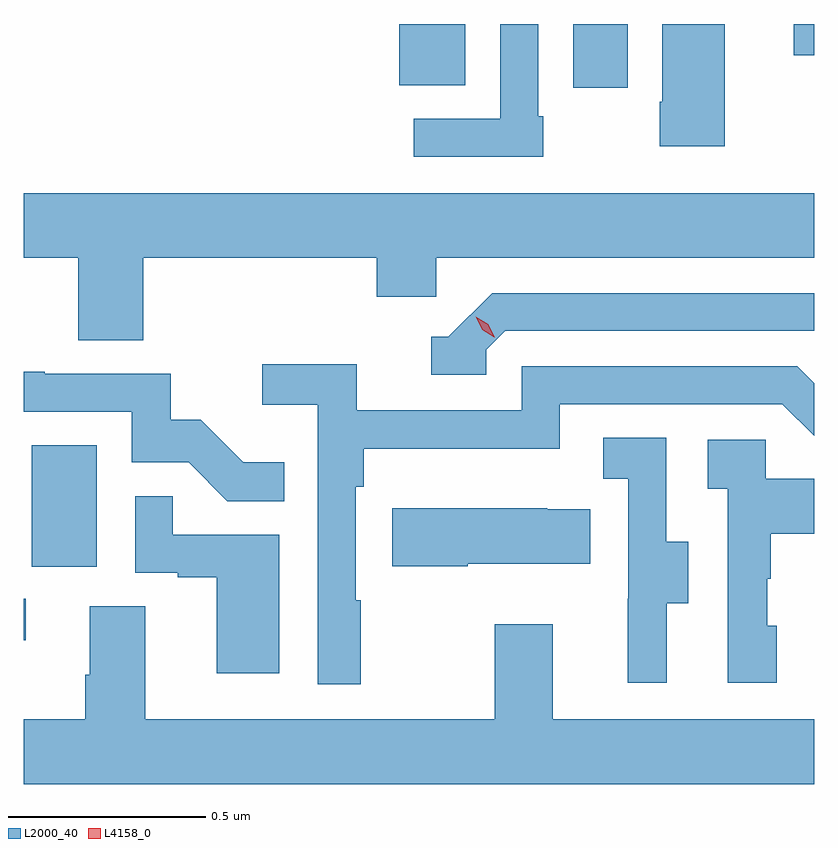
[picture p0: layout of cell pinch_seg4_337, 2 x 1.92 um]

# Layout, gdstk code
import gdstk
lib = gdstk.Library(unit=1e-6, precision=1e-09)
def R(c, l, rs):  # rectangles x0, y0, x1, y1
    for r in rs: c.add(gdstk.rectangle(r[:2], r[2:], *l))
def P(c, l, *ps):  # polygons
    for p in ps: c.add(gdstk.Polygon(p, *l))
L2000_40 = (2000, 40)
L4158_0 = (4158, 0)

pinch_seg4_337 = lib.new_cell('pinch_seg4_337')
R(pinch_seg4_337, L2000_40, [(999.132,806.508,999.136,806.613), (999.152,806.694,999.316,807.001), (1000.523,807.906,1000.66,808.068), (1000.082,807.913,1000.249,808.068), (1001.081,807.989,1001.132,808.068)])
P(pinch_seg4_337, L2000_40, [(1000.906,808.068),(1000.748,808.068),(1000.748,807.871),(1000.741,807.871),(1000.741,807.759),(1000.906,807.759)],
  [(1000.447,807.835),(1000.434,807.835),(1000.434,808.068),(1000.338,808.068),(1000.338,807.828),(1000.119,807.828),(1000.119,807.732),(1000.447,807.732)],
  [(999.434,807.476),(1000.025,807.476),(1000.025,807.378),(1000.176,807.378),(1000.176,807.476),(1001.132,807.476),(1001.132,807.64),(999.132,807.64),(999.132,807.476),(999.269,807.476),(999.269,807.268),(999.434,807.268)],
  [(1000.302,807.243),(1000.35,807.291),(1001.132,807.291),(1001.132,807.387),(1000.317,807.387),(1000.206,807.276),(1000.163,807.276),(1000.163,807.18),(1000.302,807.18)],
  [(999.985,806.609),(999.972,806.609),(999.972,806.897),(999.992,806.897),(999.992,806.993),(1000.488,806.993),(1000.488,807.105),(1001.052,807.105),(1001.132,807.025),(1001.132,807.158),(1001.089,807.201),(1000.392,807.201),(1000.392,807.09),(999.974,807.09),(999.974,807.206),(999.735,807.206),(999.735,807.104),(999.876,807.104),(999.876,806.397),(999.985,806.397)],
  [(999.791,806.959),(999.687,806.959),(999.58,807.066),(999.504,807.066),(999.504,807.183),(999.185,807.183),(999.185,807.188),(999.132,807.188),(999.132,807.087),(999.405,807.087),(999.405,806.958),(999.549,806.958),(999.647,806.86),(999.791,806.86)],
  [(1000.759,806.602),(1000.813,806.602),(1000.813,806.757),(1000.758,806.757),(1000.758,807.02),(1000.599,807.02),(1000.599,806.917),(1000.662,806.917),(1000.662,806.613),(1000.661,806.613),(1000.661,806.4),(1000.759,806.4)],
  [(1001.038,806.544),(1001.013,806.544),(1001.013,806.663),(1001.023,806.663),(1001.023,806.777),(1001.132,806.777),(1001.132,806.917),(1001.01,806.917),(1001.01,807.015),(1000.863,807.015),(1000.863,806.891),(1000.914,806.891),(1000.914,806.4),(1001.038,806.4)],
  [(999.778,806.775),(999.509,806.775),(999.509,806.873),(999.414,806.873),(999.414,806.679),(999.521,806.679),(999.521,806.667),(999.62,806.667),(999.62,806.424),(999.778,806.424)],
  [(1000.255,806.702),(1000.565,806.702),(1000.565,806.839),(1000.457,806.839),(1000.457,806.842),(1000.064,806.842),(1000.064,806.695),(1000.255,806.695)],
  [(1001.132,806.308),(1000.471,806.308),(1000.471,806.548),(1000.324,806.548),(1000.324,806.308),(999.439,806.308),(999.439,806.594),(999.299,806.594),(999.299,806.42),(999.287,806.42),(999.287,806.308),(999.132,806.308),(999.132,806.144),(1001.132,806.144)])
P(pinch_seg4_337, L4158_0, [(1000.323,807.275),(1000.292,807.294),(1000.276,807.327),(1000.276,807.327),(1000.276,807.327),(1000.307,807.308),(1000.324,807.275),(1000.324,807.275)])

lib.write_gds('pinch_seg4_337.gds')
